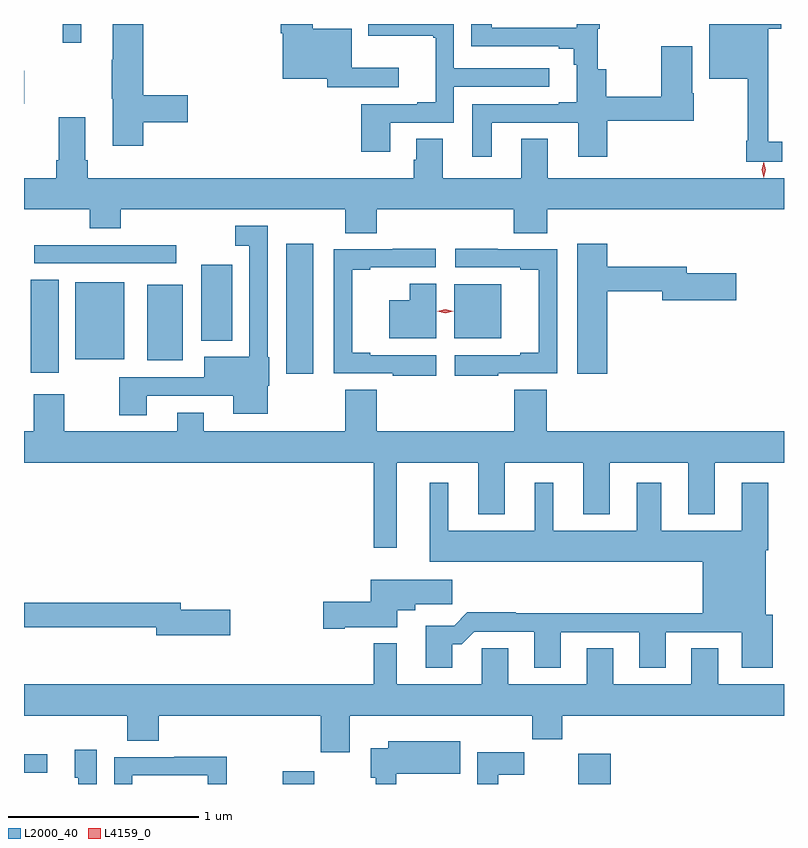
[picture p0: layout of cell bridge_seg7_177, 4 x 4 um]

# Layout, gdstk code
import gdstk
lib = gdstk.Library(unit=1e-6, precision=1e-09)
def R(c, l, rs):  # rectangles x0, y0, x1, y1
    for r in rs: c.add(gdstk.rectangle(r[:2], r[2:], *l))
def P(c, l, *ps):  # polygons
    for p in ps: c.add(gdstk.Polygon(p, *l))
L2000_40 = (2000, 40)
L4159_0 = (4159, 0)

bridge_seg7_177 = lib.new_cell('bridge_seg7_177')
R(bridge_seg7_177, L2000_40, [(449.282,1040.216,449.448,1040.284), (450.836,1040.216,451.007,1040.374), (447.92,1040.274,448.042,1040.372), (449.3,1042.374,449.443,1043.059), (447.956,1042.38,448.102,1042.871), (448.568,1042.445,448.756,1042.843), (448.19,1042.451,448.447,1042.858), (448.853,1042.55,449.017,1042.948), (450.185,1042.562,450.433,1042.846), (447.975,1042.956,448.72,1043.052), (447.92,1043.795,447.922,1043.969), (448.125,1044.117,448.222,1044.216)])
P(bridge_seg7_177, L2000_40, [(451.912,1043.595),(451.836,1043.595),(451.836,1044.191),(451.906,1044.191),(451.906,1044.216),(451.526,1044.216),(451.526,1043.927),(451.728,1043.927),(451.728,1043.602),(451.72,1043.602),(451.72,1043.49),(451.912,1043.49)],
  [(449.893,1043.986),(449.644,1043.986),(449.644,1044.19),(449.44,1044.19),(449.44,1044.216),(449.27,1044.216),(449.27,1044.167),(449.282,1044.167),(449.282,1043.927),(449.516,1043.927),(449.516,1043.882),(449.893,1043.882)],
  [(450.382,1043.697),(450.836,1043.697),(450.836,1043.517),(450.989,1043.517),(450.989,1043.706),(451.446,1043.706),(451.446,1043.851),(451.438,1043.851),(451.438,1044.1),(451.273,1044.1),(451.273,1043.834),(450.984,1043.834),(450.984,1043.977),(450.941,1043.977),(450.941,1044.192),(450.949,1044.192),(450.949,1044.216),(450.83,1044.216),(450.83,1044.196),(450.382,1044.196),(450.382,1044.216),(450.275,1044.216),(450.275,1044.099),(450.734,1044.099),(450.734,1044.087),(450.813,1044.087),(450.813,1044.002),(450.83,1044.002),(450.83,1043.805),(450.734,1043.805),(450.734,1043.793),(450.278,1043.793),(450.278,1043.517),(450.382,1043.517)],
  [(448.547,1043.698),(448.783,1043.698),(448.783,1043.84),(448.547,1043.84),(448.547,1044.216),(448.388,1044.216),(448.388,1044.029),(448.381,1044.029),(448.381,1043.823),(448.388,1043.823),(448.388,1043.574),(448.547,1043.574)],
  [(449.848,1043.697),(450.183,1043.697),(450.183,1043.886),(450.685,1043.886),(450.685,1043.982),(450.183,1043.982),(450.183,1044.216),(449.733,1044.216),(449.733,1044.155),(450.075,1044.155),(450.075,1044.144),(450.086,1044.144),(450.086,1043.805),(449.99,1043.805),(449.99,1043.793),(449.696,1043.793),(449.696,1043.544),(449.848,1043.544)],
  [(449.777,1043.24),(450.497,1043.24),(450.497,1043.116),(450.674,1043.116),(450.674,1043.24),(451.92,1043.24),(451.92,1043.404),(450.676,1043.404),(450.676,1043.612),(450.536,1043.612),(450.536,1043.404),(450.124,1043.404),(450.124,1043.612),(449.984,1043.612),(449.984,1043.502),(449.972,1043.502),(449.972,1043.404),(448.256,1043.404),(448.256,1043.5),(448.243,1043.5),(448.243,1043.725),(448.103,1043.725),(448.103,1043.5),(448.091,1043.5),(448.091,1043.404),(447.92,1043.404),(447.92,1043.24),(448.265,1043.24),(448.265,1043.141),(448.43,1043.141),(448.43,1043.24),(449.611,1043.24),(449.611,1043.116),(449.777,1043.116)],
  [(448.567,1042.26),(449.021,1042.26),(449.021,1042.166),(449.203,1042.166),(449.203,1042.311),(449.212,1042.311),(449.212,1042.461),(449.202,1042.461),(449.202,1043.155),(449.031,1043.155),(449.031,1043.049),(449.106,1043.049),(449.106,1042.465),(448.868,1042.465),(448.868,1042.356),(448.42,1042.356),(448.42,1042.158),(448.567,1042.158)],
  [(450.989,1042.81),(451.28,1042.81),(451.28,1042.763),(451.669,1042.763),(451.669,1042.905),(451.408,1042.905),(451.408,1042.939),(450.989,1042.939),(450.989,1043.059),(450.833,1043.059),(450.833,1042.374),(450.989,1042.374)],
  [(450.091,1042.473),(449.743,1042.473),(449.743,1042.486),(449.648,1042.486),(449.648,1042.923),(449.743,1042.923),(449.743,1042.935),(450.088,1042.935),(450.088,1043.033),(449.86,1043.033),(449.86,1043.031),(449.55,1043.031),(449.55,1042.377),(449.86,1042.377),(449.86,1042.365),(450.091,1042.365)],
  [(450.416,1042.377),(450.726,1042.377),(450.726,1043.031),(450.413,1043.031),(450.413,1043.033),(450.189,1043.033),(450.189,1042.935),(450.533,1042.935),(450.533,1042.923),(450.629,1042.923),(450.629,1042.486),(450.533,1042.486),(450.533,1042.473),(450.186,1042.473),(450.186,1042.365),(450.416,1042.365)],
  [(450.091,1042.85),(449.95,1042.85),(449.95,1042.762),(449.843,1042.762),(449.843,1042.562),(450.091,1042.562)],
  [(449.881,1041.908),(450.311,1041.908),(450.311,1041.635),(450.451,1041.635),(450.451,1041.908),(450.863,1041.908),(450.863,1041.635),(451.003,1041.635),(451.003,1041.908),(451.415,1041.908),(451.415,1041.635),(451.555,1041.635),(451.555,1041.908),(451.92,1041.908),(451.92,1042.072),(450.671,1042.072),(450.671,1042.292),(450.5,1042.292),(450.5,1042.072),(449.777,1042.072),(449.777,1042.292),(449.611,1042.292),(449.611,1042.072),(448.867,1042.072),(448.867,1042.171),(448.727,1042.171),(448.727,1042.072),(448.131,1042.072),(448.131,1042.267),(447.971,1042.267),(447.971,1042.072),(447.92,1042.072),(447.92,1041.908),(449.76,1041.908),(449.76,1041.459),(449.881,1041.459)],
  [(450.175,1040.951),(450.224,1040.951),(450.291,1041.018),(450.605,1041.018),(450.605,1040.829),(450.745,1040.829),(450.745,1041.015),(451.157,1041.015),(451.157,1040.829),(451.297,1040.829),(451.297,1041.015),(451.697,1041.015),(451.697,1040.829),(451.862,1040.829),(451.862,1041.108),(451.825,1041.108),(451.825,1041.446),(451.838,1041.446),(451.838,1041.802),(451.697,1041.802),(451.697,1041.55),(451.273,1041.55),(451.273,1041.802),(451.145,1041.802),(451.145,1041.55),(450.706,1041.55),(450.706,1041.802),(450.608,1041.802),(450.608,1041.55),(450.154,1041.55),(450.154,1041.802),(450.056,1041.802),(450.056,1041.386),(451.493,1041.386),(451.493,1041.116),(450.509,1041.116),(450.509,1041.119),(450.254,1041.119),(450.184,1041.049),(450.035,1041.049),(450.035,1040.829),(450.175,1040.829)],
  [(449.608,1041.041),(449.884,1041.041),(449.884,1041.131),(449.98,1041.131),(449.98,1041.163),(450.175,1041.163),(450.175,1041.292),(449.744,1041.292),(449.744,1041.176),(449.496,1041.176),(449.496,1041.034),(449.608,1041.034)],
  [(449.005,1041.134),(448.744,1041.134),(448.744,1041.17),(447.92,1041.17),(447.92,1041.042),(448.616,1041.042),(448.616,1040.999),(449.005,1040.999)],
  [(449.635,1040.576),(450.595,1040.576),(450.595,1040.452),(450.752,1040.452),(450.752,1040.576),(451.92,1040.576),(451.92,1040.74),(451.573,1040.74),(451.573,1040.93),(451.433,1040.93),(451.433,1040.74),(451.021,1040.74),(451.021,1040.93),(450.881,1040.93),(450.881,1040.74),(450.469,1040.74),(450.469,1040.93),(450.33,1040.93),(450.33,1040.74),(449.881,1040.74),(449.881,1040.956),(449.76,1040.956),(449.76,1040.74),(447.92,1040.74),(447.92,1040.576),(448.463,1040.576),(448.463,1040.443),(448.628,1040.443),(448.628,1040.576),(449.483,1040.576),(449.483,1040.382),(449.635,1040.382)],
  [(449.878,1040.27),(450.217,1040.27),(450.217,1040.44),(449.837,1040.44),(449.837,1040.404),(449.744,1040.404),(449.744,1040.25),(449.771,1040.25),(449.771,1040.216),(449.878,1040.216)],
  [(448.302,1040.395),(448.187,1040.395),(448.187,1040.25),(448.206,1040.25),(448.206,1040.216),(448.302,1040.216)],
  [(450.415,1040.264),(450.554,1040.264),(450.554,1040.382),(450.305,1040.382),(450.305,1040.216),(450.415,1040.216)],
  [(448.491,1040.262),(448.887,1040.262),(448.887,1040.216),(448.988,1040.216),(448.988,1040.36),(448.711,1040.36),(448.711,1040.358),(448.395,1040.358),(448.395,1040.216),(448.491,1040.216)])
P(bridge_seg7_177, L4159_0, [(451.814,1043.407),(451.814,1043.407),(451.804,1043.448),(451.814,1043.488),(451.814,1043.489),(451.814,1043.488),(451.824,1043.448),(451.814,1043.407)],
  [(450.138,1042.694),(450.096,1042.704),(450.096,1042.704),(450.096,1042.704),(450.138,1042.714),(450.178,1042.704),(450.179,1042.704),(450.178,1042.704)])

lib.write_gds('bridge_seg7_177.gds')
